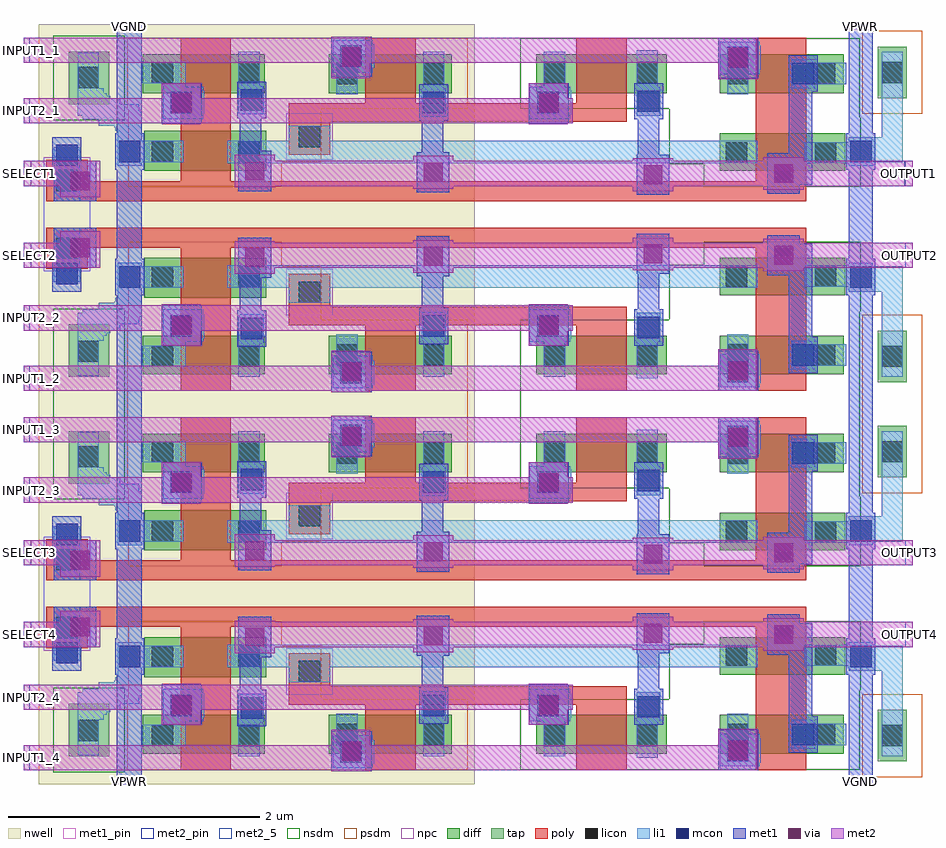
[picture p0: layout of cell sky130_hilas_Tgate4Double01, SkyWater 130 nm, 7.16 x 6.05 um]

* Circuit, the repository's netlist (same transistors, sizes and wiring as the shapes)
* Copyright 2020 The Hilas PDK Authors
* 
* This file is part of HILAS.
* 
* HILAS is free software: you can redistribute it and/or modify
* it under the terms of the GNU Lesser General Public License as published by
* the Free Software Foundation, version 3 of the License.
* 
* HILAS is distributed in the hope that it will be useful,
* but WITHOUT ANY WARRANTY; without even the implied warranty of
* MERCHANTABILITY or FITNESS FOR A PARTICULAR PURPOSE.  See the
* GNU Lesser General Public License for more details.
* 
* You should have received a copy of the GNU Lesser General Public License
* along with HILAS.  If not, see <https://www.gnu.org/licenses/>.
* 
* Licensed under the Lesser General Public License, Version 3.0 (the "License");
* you may not use this file except in compliance with the License.
* You may obtain a copy of the License at
* 
* https://www.gnu.org/licenses/lgpl-3.0.en.html
* 
* Unless required by applicable law or agreed to in writing, software
* distributed under the License is distributed on an "AS IS" BASIS,
* WITHOUT WARRANTIES OR CONDITIONS OF ANY KIND, either express or implied.
* See the License for the specific language governing permissions and
* limitations under the License.
* 
* SPDX-License-Identifier: LGPL-3.0
* 
* 

* NGSPICE file created from sky130_hilas_Tgate4Double01.ext - technology: sky130A

.subckt sky130_hilas_TgateDouble01 a_n40_n314# sky130_hilas_m12m2_4/SUB a_n468_n112#
+ output w_n502_n362# a_290_n314#
X0 output a_n196_n192# a_290_n314# sky130_hilas_m12m2_4/SUB sky130_fd_pr__nfet_01v8 w=310000u l=400000u
X1 output a_n468_n112# a_290_n314# w_n502_n362# sky130_fd_pr__pfet_01v8 w=310000u l=400000u
X2 output a_n196_n192# a_n40_n314# w_n502_n362# sky130_fd_pr__pfet_01v8 w=310000u l=400000u
X3 sky130_hilas_m12m2_4/SUB a_n468_n112# a_n196_n192# sky130_hilas_m12m2_4/SUB sky130_fd_pr__nfet_01v8 w=300000u l=400000u
X4 a_n196_n192# a_n468_n112# w_n502_n362# w_n502_n362# sky130_fd_pr__pfet_01v8 w=320000u l=400000u
X5 output a_n468_n112# a_n40_n314# sky130_hilas_m12m2_4/SUB sky130_fd_pr__nfet_01v8 w=310000u l=400000u
.ends

.subckt sky130_hilas_Tgate4Double01 VPWR INPUT1_1 INPUT2_1 SELECT1 SELECT2 INPUT2_2
+ INPUT1_2 SELECT3 INPUT2_3 SELECT4 INPUT2_4 INPUT1_4 OUTPUT4 OUTPUT3 OUTPUT2 OUTPUT1
Xsky130_hilas_TgateDouble01_0 INPUT1_1 VPWR SELECT1 OUTPUT1 VPWR INPUT2_1 sky130_hilas_TgateDouble01
Xsky130_hilas_TgateDouble01_1 INPUT1_4 VPWR SELECT4 OUTPUT4 VPWR INPUT2_4 sky130_hilas_TgateDouble01
Xsky130_hilas_TgateDouble01_2 Input1_3 VPWR SELECT3 OUTPUT3 VPWR INPUT2_3 sky130_hilas_TgateDouble01
Xsky130_hilas_TgateDouble01_3 INPUT1_2 VPWR SELECT2 OUTPUT2 VPWR INPUT2_2 sky130_hilas_TgateDouble01
.ends

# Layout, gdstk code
import gdstk
lib = gdstk.Library(unit=1e-6, precision=1e-09)
def R(c, l, rs):  # rectangles x0, y0, x1, y1
    for r in rs: c.add(gdstk.rectangle(r[:2], r[2:], *l))
nwell = (64, 20)
diff = (65, 20)
tap = (65, 44)
poly = (66, 20)
licon = (66, 44)
li1 = (67, 20)
mcon = (67, 44)
met1_pin = (68, 16)
met1 = (68, 20)
via = (68, 44)
met2_5 = (69, 5)
met2_pin = (69, 16)
met2 = (69, 20)
nsdm = (93, 44)
psdm = (94, 20)
npc = (95, 20)

sky130_hilas_poly2m1 = lib.new_cell('sky130_hilas_poly2m1')
R(sky130_hilas_poly2m1, poly, [(-0.09,-0.08,0.24,0.25)])
R(sky130_hilas_poly2m1, licon, [(-0.01,0,0.16,0.17)])
R(sky130_hilas_poly2m1, li1, [(-0.01,-0.2,0.16,-0.18), (-0.03,-0.18,0.18,0.25)])
R(sky130_hilas_poly2m1, mcon, [(-0.01,-0.2,0.16,-0.03)])
R(sky130_hilas_poly2m1, met1, [(-0.04,-0.26,0.19,0.03), (-0.03,0.03,0.19,0.25)])
R(sky130_hilas_poly2m1, npc, [(-0.11,-0.1,0.26,0.27)])

sky130_hilas_m12m2 = lib.new_cell('sky130_hilas_m12m2')
R(sky130_hilas_m12m2, met1, [(-0.06,-0.1,0.2,0.22)])
R(sky130_hilas_m12m2, via, [(-0.005,-0.015,0.145,0.135)])
R(sky130_hilas_m12m2, met2, [(-0.09,-0.07,0.23,0.19)])

sky130_hilas_li2m2 = lib.new_cell('sky130_hilas_li2m2')
R(sky130_hilas_li2m2, li1, [(-0.13,-0.12,0.19,-0.09), (-0.13,-0.09,0.2,0.1), (-0.13,0.1,0.19,0.14)])
R(sky130_hilas_li2m2, mcon, [(-0.07,-0.08,0.1,0.09)])
R(sky130_hilas_li2m2, met1, [(-0.14,-0.15,0.18,0.17)])
R(sky130_hilas_li2m2, via, [(-0.055,-0.065,0.095,0.085)])
R(sky130_hilas_li2m2, met2, [(-0.14,-0.15,0.17,0.18)])

sky130_hilas_li2m1 = lib.new_cell('sky130_hilas_li2m1')
R(sky130_hilas_li2m1, li1, [(-0.08,-0.05,0.11,0.18)])
R(sky130_hilas_li2m1, mcon, [(-0.07,-0.02,0.1,0.15)])
R(sky130_hilas_li2m1, met1, [(-0.1,-0.08,0.13,0.21)])

sky130_hilas_tgatedouble = lib.new_cell('sky130_hilas_TgateDouble01')
R(sky130_hilas_tgatedouble, nwell, [(-2.51,-1.81,0.96,-0.29)])
R(sky130_hilas_tgatedouble, diff, [(-1.68,-1.57,-0.71,-1.26), (-0.2,-1.57,0.78,-1.26), (1.45,-1.57,2.49,-1.26), (2.91,-1.57,3.9,-1.26), (-1.67,-0.96,-0.7,-0.64), (2.91,-0.94,3.91,-0.64)])
R(sky130_hilas_tgatedouble, tap, [(4.17,-1.63,4.4,-1.22), (-2.27,-1.59,-1.95,-1.17)])
R(sky130_hilas_tgatedouble, poly, [(-1.38,-1.7,-0.98,-0.56), (0.09,-1.7,0.49,-1.18), (1.77,-1.7,2.17,-1.18), (3.2,-1.7,3.6,-0.56), (-0.52,-1.18,2.17,-1.03), (-0.52,-1.03,-0.19,-0.77), (-2.34,-0.56,3.6,-0.4)])
R(sky130_hilas_tgatedouble, licon, [(-1.61,-1.51,-1.44,-1.34), (-0.92,-1.51,-0.75,-1.34), (1.51,-1.51,1.68,-1.34), (2.25,-1.51,2.42,-1.34), (4.2,-1.51,4.37,-1.34), (-0.14,-1.5,0.03,-1.33), (0.55,-1.5,0.72,-1.33), (2.97,-1.5,3.14,-1.33), (3.66,-1.5,3.83,-1.33), (-2.2,-1.47,-2.03,-1.3), (-0.44,-1,-0.27,-0.83), (-1.61,-0.88,-1.44,-0.71), (-0.92,-0.88,-0.75,-0.71), (2.96,-0.87,3.13,-0.7), (3.67,-0.87,3.84,-0.7)])
R(sky130_hilas_tgatedouble, li1, [(2.25,-1.6,2.42,-1.22), (-0.92,-1.59,-0.75,-1.24), (0.55,-1.59,0.72,-1.24), (1.51,-1.59,1.68,-1.29), (4.2,-1.59,4.37,-0.91), (-2.2,-1.58,-2.03,-1.3), (-0.14,-1.55,0.03,-1.25), (2.97,-1.55,3.14,-1.25), (-1.69,-1.51,-1.34,-1.34), (3.63,-1.5,3.92,-1.33), (-1.52,-1.34,-1.34,-1.3), (-2.2,-1.3,-1.99,-1.26), (-2.2,-1.26,-1.97,-1.24), (-2.2,-1.24,-1.94,-1.22), (-0.92,-1.24,-0.76,-1.1), (-2.2,-1.22,-1.86,-1.17), (-2.2,-1.17,-1.71,-1.11), (-2.2,-1.11,-1.69,-1.08), (-2.16,-1.08,-1.69,-1.05), (-2.03,-1.05,-1.69,-1), (-1.91,-1,-1.69,-0.99), (-0.52,-1,-0.19,-0.88), (-1.9,-0.99,-1.69,-0.96), (-1.88,-0.96,-1.69,-0.88), (4.12,-0.91,4.37,-0.71), (-1.88,-0.88,-1.36,-0.83), (-1.01,-0.88,3.21,-0.7), (3.59,-0.87,3.94,-0.7), (-1.71,-0.83,-1.36,-0.71)])
R(sky130_hilas_tgatedouble, met1, [(-1.89,-1.81,-1.69,-0.29), (3.94,-1.81,4.13,-0.29), (3.46,-1.28,3.65,-0.53), (2.26,-1.08,2.43,-0.74), (-0.91,-1.07,-0.74,-0.8), (0.54,-1.05,0.71,-0.78)])
R(sky130_hilas_tgatedouble, met2_5, [(4.39,-0.72,4.45,-0.52)])
R(sky130_hilas_tgatedouble, met2, [(-2.63,-1.7,3.14,-1.5), (-2.63,-1.22,1.74,-1.02), (-2.63,-0.72,-2.02,-0.52), (-0.93,-0.72,4.45,-0.52)])
R(sky130_hilas_tgatedouble, nsdm, [(-2.395,-1.715,-1.825,-1.045), (1.325,-1.695,4.025,-1.135), (2.51,-1.135,4.025,-1.065), (2.51,-1.065,4.035,-0.695), (2.785,-0.695,4.035,-0.515)])
R(sky130_hilas_tgatedouble, psdm, [(4.045,-1.755,4.525,-1.095), (-1.805,-1.695,0.905,-1.135), (-1.795,-1.135,-0.26,-0.71), (-1.795,-0.71,-0.575,-0.515)])
R(sky130_hilas_tgatedouble, npc, [(-0.54,-1.1,-0.17,-0.73)])
sky130_hilas_tgatedouble.add(gdstk.Reference(sky130_hilas_poly2m1, (-2.36,-0.65)))
sky130_hilas_tgatedouble.add(gdstk.Reference(sky130_hilas_m12m2, (-2.25,-0.62)))
sky130_hilas_tgatedouble.add(gdstk.Reference(sky130_hilas_m12m2, (-0.86,-0.7)))
sky130_hilas_tgatedouble.add(gdstk.Reference(sky130_hilas_m12m2, (0.56,-0.69)))
sky130_hilas_tgatedouble.add(gdstk.Reference(sky130_hilas_m12m2, (2.31,-0.67)))
sky130_hilas_tgatedouble.add(gdstk.Reference(sky130_hilas_m12m2, (3.35,-0.68)))
sky130_hilas_tgatedouble.add(gdstk.Reference(sky130_hilas_li2m2, (-1.39,-1.19)))
sky130_hilas_tgatedouble.add(gdstk.Reference(sky130_hilas_li2m2, (-0.04,-1.56)))
sky130_hilas_tgatedouble.add(gdstk.Reference(sky130_hilas_li2m2, (1.53,-1.19)))
sky130_hilas_tgatedouble.add(gdstk.Reference(sky130_hilas_li2m2, (3.04,-1.55)))
sky130_hilas_tgatedouble.add(gdstk.Reference(sky130_hilas_li2m1, (-1.8,-0.86)))
sky130_hilas_tgatedouble.add(gdstk.Reference(sky130_hilas_li2m1, (-0.83,-1.27)))
sky130_hilas_tgatedouble.add(gdstk.Reference(sky130_hilas_li2m1, (0.62,-1.25)))
sky130_hilas_tgatedouble.add(gdstk.Reference(sky130_hilas_li2m1, (2.33,-1.26)))
sky130_hilas_tgatedouble.add(gdstk.Reference(sky130_hilas_li2m1, (3.56,-1.48)))
sky130_hilas_tgatedouble.add(gdstk.Reference(sky130_hilas_li2m1, (4.02,-0.86)))
sky130_hilas_tgatedouble.add(gdstk.Label('output', (4.42,-0.62), layer=69, texttype=5))

sky130_hilas_tgate4doubl = lib.new_cell('sky130_hilas_Tgate4Double01')
R(sky130_hilas_tgate4doubl, met1_pin, [(0.38,-1.41,0.58,-1.37), (6.21,-1.41,6.4,-1.37), (0.38,4.6,0.58,4.64), (6.21,4.6,6.4,4.64)])
R(sky130_hilas_tgate4doubl, met1, [(0.38,-1.41,0.58,-1.37), (6.21,-1.41,6.4,-1.37), (0.38,4.6,0.58,4.64), (6.21,4.6,6.4,4.64)])
R(sky130_hilas_tgate4doubl, met2_pin, [(-0.36,-1.3,-0.31,-1.1), (-0.36,-0.82,-0.31,-0.62), (-0.36,-0.32,-0.3,-0.12), (6.66,-0.32,6.72,-0.12), (-0.36,0.33,-0.3,0.53), (6.66,0.33,6.72,0.53), (-0.36,0.83,-0.31,1.03), (-0.36,1.31,-0.31,1.51), (-0.36,1.72,-0.31,1.92), (-0.36,2.2,-0.31,2.4), (-0.36,2.7,-0.3,2.9), (6.66,2.7,6.72,2.9), (-0.36,3.35,-0.3,3.55), (6.65,3.35,6.72,3.55), (-0.36,3.85,-0.31,4.05), (-0.36,4.33,-0.31,4.53)])
R(sky130_hilas_tgate4doubl, met2, [(-0.36,-1.3,-0.31,-1.1), (-0.36,-0.82,-0.31,-0.62), (-0.36,-0.32,-0.3,-0.12), (6.66,-0.32,6.72,-0.12), (-0.36,0.33,-0.3,0.53), (6.66,0.33,6.72,0.53), (-0.36,0.83,-0.31,1.03), (-0.36,1.31,-0.31,1.51), (-0.36,1.72,-0.31,1.92), (-0.36,2.2,-0.31,2.4), (-0.36,2.7,-0.3,2.9), (6.66,2.7,6.72,2.9), (-0.36,3.35,-0.3,3.55), (6.65,3.35,6.72,3.55), (-0.36,3.85,-0.31,4.05), (-0.36,4.33,-0.31,4.53)])
R(sky130_hilas_tgate4doubl, nsdm, [(3.595,1.505,6.295,1.725), (-0.125,1.525,0.445,1.705)])
R(sky130_hilas_tgate4doubl, psdm, [(0.465,1.505,3.175,1.725), (6.315,1.565,6.795,1.665)])
R(sky130_hilas_tgate4doubl, npc, [(-0.2,0.02,0.17,0.19), (-0.2,3.04,0.17,3.21)])
sky130_hilas_tgate4doubl.add(gdstk.Reference(sky130_hilas_tgatedouble, (2.27,-0.19), x_reflection=True))
sky130_hilas_tgate4doubl.add(gdstk.Reference(sky130_hilas_tgatedouble, (2.27,3.42)))
sky130_hilas_tgate4doubl.add(gdstk.Reference(sky130_hilas_tgatedouble, (2.27,2.83), x_reflection=True))
sky130_hilas_tgate4doubl.add(gdstk.Reference(sky130_hilas_tgatedouble, (2.27,0.4)))
sky130_hilas_tgate4doubl.add(gdstk.Label('VGND', (0.48,4.62), layer=68, texttype=16))
sky130_hilas_tgate4doubl.add(gdstk.Label('VGND', (6.305,-1.39), layer=68, texttype=16))
sky130_hilas_tgate4doubl.add(gdstk.Label('INPUT1_1', (-0.335,4.43), layer=69, texttype=16))
sky130_hilas_tgate4doubl.add(gdstk.Label('SELECT1', (-0.33,3.45), layer=69, texttype=16))
sky130_hilas_tgate4doubl.add(gdstk.Label('SELECT2', (-0.33,2.8), layer=69, texttype=16))
sky130_hilas_tgate4doubl.add(gdstk.Label('INPUT2_2', (-0.335,2.3), layer=69, texttype=16))
sky130_hilas_tgate4doubl.add(gdstk.Label('INPUT1_2', (-0.335,1.82), layer=69, texttype=16))
sky130_hilas_tgate4doubl.add(gdstk.Label('SELECT3', (-0.33,0.43), layer=69, texttype=16))
sky130_hilas_tgate4doubl.add(gdstk.Label('INPUT2_3', (-0.335,0.93), layer=69, texttype=16))
sky130_hilas_tgate4doubl.add(gdstk.Label('SELECT4', (-0.33,-0.22), layer=69, texttype=16))
sky130_hilas_tgate4doubl.add(gdstk.Label('INPUT2_4', (-0.335,-0.72), layer=69, texttype=16))
sky130_hilas_tgate4doubl.add(gdstk.Label('INPUT1_4', (-0.335,-1.2), layer=69, texttype=16))
sky130_hilas_tgate4doubl.add(gdstk.Label('VPWR', (6.305,4.62), layer=68, texttype=16))
sky130_hilas_tgate4doubl.add(gdstk.Label('VPWR', (0.48,-1.39), layer=68, texttype=16))
sky130_hilas_tgate4doubl.add(gdstk.Label('OUTPUT4', (6.69,-0.22), layer=69, texttype=16))
sky130_hilas_tgate4doubl.add(gdstk.Label('OUTPUT3', (6.69,0.43), layer=69, texttype=16))
sky130_hilas_tgate4doubl.add(gdstk.Label('OUTPUT2', (6.69,2.8), layer=69, texttype=16))
sky130_hilas_tgate4doubl.add(gdstk.Label('OUTPUT1', (6.685,3.45), layer=69, texttype=16))
sky130_hilas_tgate4doubl.add(gdstk.Label('INPUT2_1', (-0.335,3.95), layer=69, texttype=16))
sky130_hilas_tgate4doubl.add(gdstk.Label('INPUT1_3', (-0.335,1.41), layer=69, texttype=16))

lib.write_gds('sky130_hilas_Tgate4Double01.gds')
